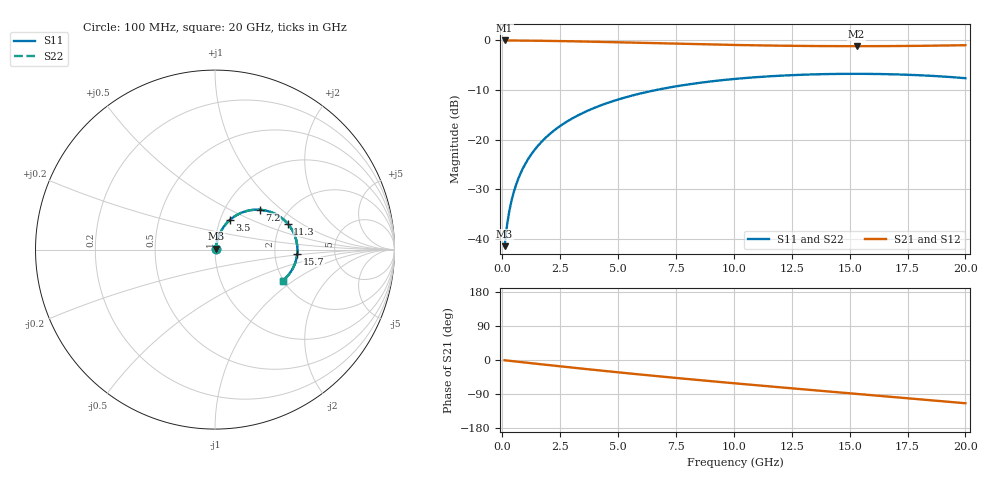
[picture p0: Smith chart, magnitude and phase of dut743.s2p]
! Touchstone file exported from HFSS 2026.1.0
!  File:  C:/ffzhzh/LocalFiles/Ansys_Project_Files/temp_train_TSV_RDL_743_1783204892_18472.aedt
!  Generated:  06:50:36 AM Jul  5, 2026
!  Design:  TSV_RDL
!  Project:  temp_train_TSV_RDL_743_1783204892_18472
! Variables:
!  h_bsmrdl = 5.55um
!  h_ox = 20um
!  h_rdl = 5um
!  h_sub = 87.12um
!  h_tmrdl = 5.91um
!  h_tsv = 87.12um
!  h_via = 3um
!  l_bsmrdl = 245.41um
!  l_sub = 1781.72um
!  l_tmrdl = 130.42um
!  m_sub = 200um
!  pitch = 54.72um
!  r_tsv = 11.77um
!  s_tmrdl = 10um
!  w_bsmrdl = 13.56um
!  w_sub = 500um
!  w_tmrdl = 27.71um
!  x_tsv_center1 = 144.275um
!  x_tsv_center2 = 403.245um
!  x_tsv_center3 = 561.375um
!  x_tsv_center4 = 820.345um
!  x_tsv_center5 = 978.475um
!  x_tsv_center6 = 1237.445um
# GHz S MA R 50.000000
! Terminal data exported
! Port[1] = TM_RDL1_1_T1
! Port[2] = TM_RDL5_1_T1
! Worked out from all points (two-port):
!   200 points, 100 MHz to 20 GHz, reference 50 ohm
!   highest |S21| = -0.05 dB at 100 MHz (marker M1); lowest = -1.2 dB at 15.3 GHz (marker M2)
!   |S21| within 3 dB of the highest: start of sweep to end of sweep
!   lowest |S11| = -41.4 dB at 100 MHz (marker M3), VSWR 1.02, Z = 50.6 + j0.607 ohm
!   |S11| at or under -10 dB: start of sweep to 6.665 GHz
!   |S22| runs from -41.4 to -6.8 dB; largest |S21 - S12| = 2.5e-13
!   S11 on the Smith chart (normalised r, x): 100 MHz: 1.01, +0.01; 3.5 GHz: 1.11, +0.38; 7.2 GHz: 1.45, +0.72; 11.3 GHz: 2.17, +0.77; 15.7 GHz: 2.69, -0.15; 20 GHz: 1.98, -0.83
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0.1  0.00848 45.0  0.9941 -0.7  0.9941 -0.7  0.00848 45.0
! Gamma 0 0 0 0
! Port Impedance 50 0 50 0
0.2  0.01351 61.4  0.9937 -1.4  0.9937 -1.4  0.01351 61.4
0.3  0.01896 67.9  0.9934 -2.1  0.9934 -2.1  0.01896 67.9
0.4  0.02446 71.2  0.993 -2.8  0.993 -2.8  0.02446 71.2
0.5  0.02995 73.0  0.9926 -3.4  0.9926 -3.4  0.02995 73.0
0.6  0.03544 74.1  0.9922 -4.1  0.9922 -4.1  0.03544 74.1
0.8  0.04642 75.1  0.9914 -5.4  0.9914 -5.4  0.04642 75.1
1.1  0.06285 75.2  0.9901 -7.4  0.9901 -7.4  0.06285 75.2
1.5  0.08459 74.0  0.9878 -10.1  0.9878 -10.1  0.08459 74.0
2.1  0.1165 71.1  0.9835 -14.1  0.9835 -14.1  0.1165 71.1
2.7  0.1473 67.8  0.9782 -18.0  0.9782 -18.0  0.1473 67.8
3.5  0.1865 63.1  0.9702 -23.1  0.9702 -23.1  0.1865 63.1
5  0.2531 54.3  0.953 -32.5  0.953 -32.5  0.2531 54.3
6.8  0.3208 43.9  0.931 -43.3  0.931 -43.3  0.3208 43.9
7.2  0.334 41.7  0.9261 -45.6  0.9261 -45.6  0.334 41.7
10.1  0.4091 25.9  0.895 -61.9  0.895 -61.9  0.4091 25.9
11.3  0.43 19.6  0.8852 -68.3  0.8852 -68.3  0.43 19.6
13.4  0.4529 8.9  0.8739 -79.4  0.8739 -79.4  0.4529 8.9
15.3  0.4591 -0.7  0.8706 -89.3  0.8706 -89.3  0.4591 -0.7
15.7  0.4587 -2.7  0.8707 -91.3  0.8707 -91.3  0.4587 -2.7
16.7  0.455 -7.8  0.8725 -96.6  0.8725 -96.6  0.4549 -7.8
20  0.415 -24.8  0.8906 -114.1  0.8906 -114.1  0.415 -24.8
